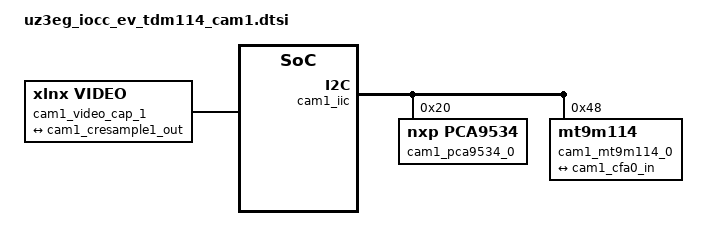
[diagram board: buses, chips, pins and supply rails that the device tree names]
#include <dt-bindings/media/xilinx-vip.h>

&amba_pl {
	cam1_iic: i2c@80100000 {
		#address-cells = <1>;
		#size-cells = <0>;
		compatible = "xlnx,xps-iic-2.00.a";
		interrupt-parent = <&gic>;
		interrupts = <0 91 4>;
		reg = <0x0 0x80100000 0x0 0x10000>;
		clocks = <&axi_lite_clk>;

		cam1_pca9534_0: gpio@20 {
			compatible = "nxp,pca9534";
			reg = <0x20>;
			gpio-controller;
			#gpio-cells = <2>;
		};
	
		cam1_mt9m114_0: mt9m114@48 {
			compatible = "mt9m114";
			reg = <0x48>;
		
			ports {
				#address-cells = <1>;
				#size-cells = <0>;

				port@0 {
					reg = <0>;
					xlnx,video-format = <XVIP_VF_MONO_SENSOR>;
					xlnx,cfa-pattern = "rggb";
					xlnx,video-width = <8>;
					cam1_mt9m114_0_source: endpoint {
						remote-endpoint = <&cam1_cfa0_in>;
					};
				};
			};
		
		
		};
	};

	TDnext_capture_1_tc_frmbuf_wr_0: v_frmbuf_wr@80140000 {
	        #dma-cells = <1>;
	        compatible = "xlnx,axi-frmbuf-wr-v2";
	        interrupt-parent = <&gic>;
		interrupts = <0 89 4>;
		reset-gpios = <&gpio 78 1>;
		reg = <0x0 0x80140000 0x0 0x10000>;
		xlnx,dma-addr-width = <32>;
		xlnx,vid-formats = "yuyv";
	};


	TDnext_capture_1_tc_v_cfa_0: v_cfa@80110000 {
		compatible = "xlnx,v-cfa-7.0";
		reg = <0x0 0x80110000 0x0 0x10000>;
		clocks = <&axi_stream_clk>;

		ports {
			#address-cells = <1>;
			#size-cells = <0>;

			port@0 {
				reg = <0>;
				xlnx,video-format = <XVIP_VF_MONO_SENSOR>;
				xlnx,cfa-pattern = "rggb";
				xlnx,video-width = <8>;

				cam1_cfa0_in: endpoint {
					remote-endpoint = <&cam1_mt9m114_0_source>;
				};
			};
			port@1 {
				reg = <1>;
				xlnx,video-format = <XVIP_VF_RBG>;
				xlnx,video-width = <8>;

				cam1_cfa0_out: endpoint {
					remote-endpoint = <&cam1_rgb2yuv1_in>;
				};
			};
		};
	};

	TDnext_capture_1_tc_v_rgb2ycrcb_0: v_rgb2ycrcb@80120000 {
		compatible = "xlnx,v-rgb2ycrcb-7.1";
		reg = <0x0 0x80120000 0x0 0x10000>;
		clocks = <&axi_stream_clk>;

		ports {
			#address-cells = <1>;
			#size-cells = <0>;

			port@0 {
				reg = <0>;
				xlnx,video-format = <XVIP_VF_RBG>;
				xlnx,video-width = <8>;

				cam1_rgb2yuv1_in: endpoint {
					remote-endpoint = <&cam1_cfa0_out>;
				};
			};
			port@1 {
				reg = <1>;
				xlnx,video-format = <XVIP_VF_YUV_444>;
				xlnx,video-width = <8>;

				cam1_rgb2yuv1_out: endpoint {
					remote-endpoint = <&cam1_cresample1_in>;
				};
			};
		};
	};

	TDnext_capture_1_tc_v_cresample_0: v_cresample@80130000 {
		compatible = "xlnx,v-cresample-4.0";
		reg = <0x0 0x80130000 0x0 0x10000>;
		clocks = <&axi_stream_clk>;

		ports {
			#address-cells = <1>;
			#size-cells = <0>;

			port@0 {
				reg = <0>;
				xlnx,video-format = <XVIP_VF_YUV_444>;
				xlnx,video-width = <8>;

				cam1_cresample1_in: endpoint {
					remote-endpoint = <&cam1_rgb2yuv1_out>;
				};
			};
			port@1 {
				reg = <1>;
				xlnx,video-format = <XVIP_VF_YUV_422>;
				xlnx,video-width = <8>;

				cam1_cresample1_out: endpoint {
					remote-endpoint = <&cam1_vcap1_sink>;
				};
			};
		};
	};

	cam1_video_cap_1 {
		compatible = "xlnx,video";
		dmas = <&TDnext_capture_1_tc_frmbuf_wr_0 0>;
		dma-names = "port0";

		ports {
			#address-cells = <1>;
			#size-cells = <0>;

			port@0 {
				reg = <0>;
				direction = "input";
				vpipe-names = "mt9m114";
				cam1_vcap1_sink: endpoint {
					remote-endpoint = <&cam1_cresample1_out>;
				};
			};
		};
	};
};









